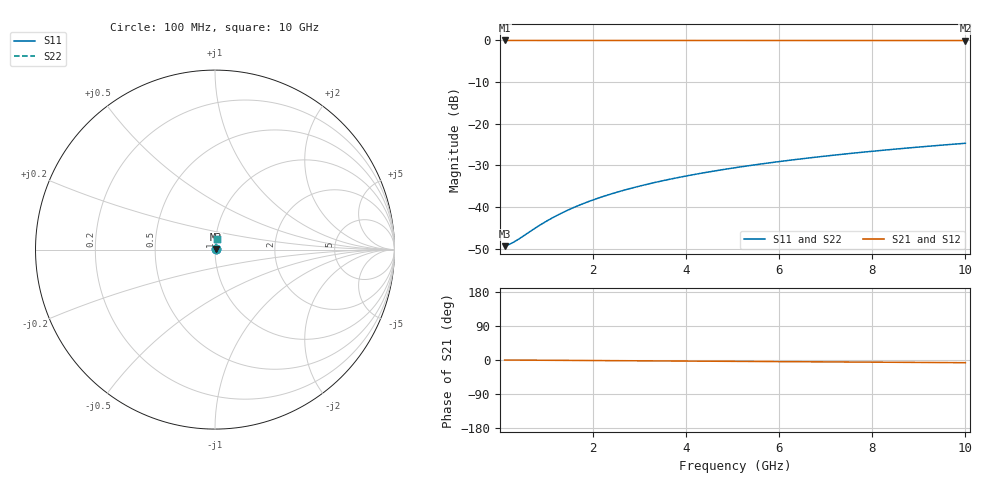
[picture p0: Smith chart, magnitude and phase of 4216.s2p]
# Hz S RI R 50.00
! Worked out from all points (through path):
!   100 points, 100 MHz to 10 GHz, reference 50 ohm
!   highest |S21| = -0.03 dB at 100 MHz (marker M1); lowest = 0.0 dB at 10 GHz (marker M2)
!   lowest |S11| = -49.4 dB at 100 MHz (marker M3), VSWR 1.01, Z = 50.3 + j0.0583 ohm
!   |S11| at or under -10 dB: start of sweep to end of sweep
!   |S22| runs from -49.4 to -24.7 dB; largest |S21 - S12| = 0
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1e8  0.00335 0.000579  0.9967 -0.00123  0.9967 -0.00123  0.00335 0.000579
2e8  0.00337 0.00116  0.9966 -0.00247  0.9966 -0.00247  0.00337 0.00116
3e8  0.00339 0.00174  0.9966 -0.0037  0.9966 -0.0037  0.00339 0.00174
4e8  0.00341 0.00232  0.9966 -0.00494  0.9966 -0.00494  0.00341 0.00232
8e8  0.00348 0.00463  0.9965 -0.00987  0.9965 -0.00987  0.00348 0.00463
1.1e9  0.00354 0.00637  0.9964 -0.0136  0.9964 -0.0136  0.00354 0.00637
1.4e9  0.00361 0.0081  0.9963 -0.0173  0.9963 -0.0173  0.00361 0.0081
1.6e9  0.00366 0.00926  0.9963 -0.0197  0.9963 -0.0197  0.00366 0.00926
1.8e9  0.00372 0.0104  0.9962 -0.0222  0.9962 -0.0222  0.00372 0.0104
2.1e9  0.00382 0.0121  0.9961 -0.0259  0.9961 -0.0259  0.00382 0.0121
2.5e9  0.00397 0.0145  0.9959 -0.0308  0.9959 -0.0308  0.00397 0.0145
2.9e9  0.00414 0.0168  0.9957 -0.0358  0.9957 -0.0358  0.00414 0.0168
3.4e9  0.00438 0.0197  0.9954 -0.0419  0.9954 -0.0419  0.00438 0.0197
3.8e9  0.0046 0.022  0.9951 -0.0469  0.9951 -0.0469  0.0046 0.022
4.2e9  0.00484 0.0243  0.9948 -0.0518  0.9948 -0.0518  0.00484 0.0243
4.6e9  0.0051 0.0266  0.9944 -0.0567  0.9944 -0.0567  0.0051 0.0266
5.1e9  0.00546 0.0294  0.9939 -0.0629  0.9939 -0.0629  0.00546 0.0294
5.9e9  0.00611 0.034  0.9931 -0.0727  0.9931 -0.0727  0.00611 0.034
6.7e9  0.00686 0.0386  0.9921 -0.0825  0.9921 -0.0825  0.00686 0.0386
7.5e9  0.00769 0.0431  0.9911 -0.0923  0.9911 -0.0923  0.00769 0.0431
8.4e9  0.00873 0.0482  0.9897 -0.1033  0.9897 -0.1033  0.00873 0.0482
1e10  0.0109 0.0572  0.9869 -0.1229  0.9869 -0.1229  0.0109 0.0572
